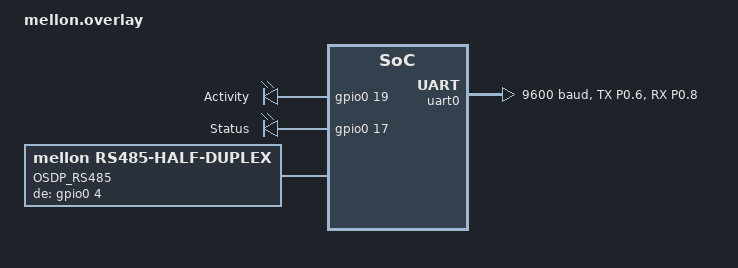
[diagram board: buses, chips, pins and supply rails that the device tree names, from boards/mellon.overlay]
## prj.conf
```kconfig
# Zephyr project configuration for Mellon firmware.
# See spec §4.2.

# --- Bluetooth ---
CONFIG_BT=y
CONFIG_BT_PERIPHERAL=y
CONFIG_BT_DEVICE_NAME="Mellon"
CONFIG_BT_DEVICE_APPEARANCE=0
CONFIG_BT_SMP=y
CONFIG_BT_FIXED_PASSKEY=y
CONFIG_BT_BONDABLE=y
CONFIG_BT_SETTINGS=y
CONFIG_BT_NUS=y
CONFIG_BT_MAX_CONN=1
CONFIG_BT_MAX_PAIRED=4

# --- Storage ---
CONFIG_FLASH=y
CONFIG_FLASH_PAGE_LAYOUT=y
CONFIG_FLASH_MAP=y
CONFIG_NVS=y
CONFIG_FCB=y
CONFIG_SETTINGS=y
CONFIG_SETTINGS_NVS=y

# --- Logging (RTT only — no UART console; UART is the OSDP wire) ---
CONFIG_LOG=y
CONFIG_LOG_BACKEND_RTT=y
CONFIG_USE_SEGGER_RTT=y
CONFIG_LOG_BACKEND_UART=n
CONFIG_LOG_PRINTK=y
CONFIG_LOG_MODE_DEFERRED=y

# --- Crypto ---
CONFIG_MBEDTLS=y
CONFIG_MBEDTLS_BUILTIN=y
CONFIG_MBEDTLS_CIPHER_AES_ENABLED=y
CONFIG_MBEDTLS_CIPHER_MODE_CBC_ENABLED=y
CONFIG_MBEDTLS_AES_ROM_TABLES=y

# --- Power management — keep BLE radio always reachable per §7.4 ---
CONFIG_PM=y
CONFIG_PM_DEVICE=y

# --- Serial / UART for the OSDP bus ---
CONFIG_SERIAL=y
CONFIG_UART_INTERRUPT_DRIVEN=y
CONFIG_UART_ASYNC_API=y
CONFIG_UART_LINE_CTRL=n

# --- GPIO for DE/RE̅ direction line and LEDs ---
CONFIG_GPIO=y

# --- Watchdog (M2 acceptance: 30 minutes without watchdog reset) ---
CONFIG_WATCHDOG=y
CONFIG_WDT_NRFX=y

# --- Heap / stack ---
CONFIG_MAIN_STACK_SIZE=2048
CONFIG_HEAP_MEM_POOL_SIZE=4096
CONFIG_SYSTEM_WORKQUEUE_STACK_SIZE=2048
```

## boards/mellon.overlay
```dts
/*
 * Devicetree overlay for the Bishop Fox Mellon v0.1 board.
 * Pin assignments come straight from the v0.1 KiCad schematic; see spec §1.2.
 */

/ {
	chosen {
		zephyr,console = &uart0;
		zephyr,shell-uart = &uart0;
		zephyr,uart-mcumgr = &uart0;
		zephyr,bt-mon-uart = &uart0;
		zephyr,bt-c2h-uart = &uart0;
	};

	leds {
		compatible = "gpio-leds";
		led_act: led_act {
			gpios = <&gpio0 19 GPIO_ACTIVE_HIGH>;	/* D3 — activity */
			label = "Activity";
		};
		led_status: led_status {
			gpios = <&gpio0 17 GPIO_ACTIVE_HIGH>;	/* D4 — status */
			label = "Status";
		};
	};

	/*
	 * MAX485CSA+ DE and RE̅ are tied together on the board (spec §1.2).
	 * HIGH = transmit, LOW = receive. Idle state is LOW (receive).
	 */
	rs485 {
		compatible = "mellon,rs485-half-duplex";
		status = "okay";
		de-gpios = <&gpio0 4 GPIO_ACTIVE_HIGH>;
		uart = <&uart0>;
		label = "OSDP_RS485";
	};

	aliases {
		mellon-led-act = &led_act;
		mellon-led-status = &led_status;
		mellon-uart = &uart0;
	};
};

&uart0 {
	status = "okay";
	current-speed = <9600>;	/* OSDP default; spec §1.6 supports up to 230400 */
	pinctrl-0 = <&uart0_default>;
	pinctrl-1 = <&uart0_sleep>;
	pinctrl-names = "default", "sleep";
};

&pinctrl {
	uart0_default: uart0_default {
		group1 {
			psels = <NRF_PSEL(UART_TX, 0, 6)>;
		};
		group2 {
			psels = <NRF_PSEL(UART_RX, 0, 8)>;
			bias-pull-up;	/* matches R8 pull-up to +5V_RS485 */
		};
	};
	uart0_sleep: uart0_sleep {
		group1 {
			psels = <NRF_PSEL(UART_TX, 0, 6)>,
				<NRF_PSEL(UART_RX, 0, 8)>;
			low-power-enable;
		};
	};
};

/*
 * Flash partitions — spec §5.
 *   app:     0x00000–0x6FFFF (448 KB)
 *   nvs:     0x70000–0x77FFF (32 KB)
 *   capture: 0x78000–0x7FFFF (32 KB)
 */
&flash0 {
	partitions {
		compatible = "fixed-partitions";
		#address-cells = <1>;
		#size-cells = <1>;

		boot_partition: partition@0 {
			label = "mcuboot";
			reg = <0x00000000 0x0000C000>;
			read-only;
		};

		slot0_partition: partition@c000 {
			label = "image-0";
			reg = <0x0000C000 0x00064000>;
		};

		nvs_partition: partition@70000 {
			label = "nvs";
			reg = <0x00070000 0x00008000>;
		};

		capture_partition: partition@78000 {
			label = "capture";
			reg = <0x00078000 0x00008000>;
		};
	};
};
```

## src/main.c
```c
/*
 * Mellon firmware — entry point.
 *
 * Boot sequence:
 *   1. board init (LEDs, RTT log)
 *   2. mode dispatcher init: NVS → sniff pipeline → libosdp glue → secchan
 *   3. RS-485 driver up at OSDP default 9600 baud
 *   4. BLE console up; advertising under name "Mellon"
 *   5. main loop: blink the heartbeat and feed the watchdog
 */

#include <zephyr/drivers/watchdog.h>
#include <zephyr/kernel.h>
#include <zephyr/logging/log.h>

#include "ble/nus_console.h"
#include "board/board.h"
#include "board/rs485.h"
#include "mode.h"
#include "storage/capture.h"
#include "storage/nvs_config.h"
#include "util/log.h"

LOG_MODULE_REGISTER(main, CONFIG_LOG_DEFAULT_LEVEL);

#ifndef MELLON_FIRMWARE_VERSION
#define MELLON_FIRMWARE_VERSION "0.0.0-pre"
#endif
#ifndef MELLON_BUILD_HASH
#define MELLON_BUILD_HASH "unknown"
#endif

#define HEARTBEAT_PERIOD_MS	1000
#define HEARTBEAT_ON_MS		50
#define WDT_TIMEOUT_MS		5000

static int wdt_chan = -1;
static const struct device *wdt_dev;

static int mellon_wdt_init(void)
{
	wdt_dev = DEVICE_DT_GET_ONE(nordic_nrf_wdt);
	if (!device_is_ready(wdt_dev)) {
		LOG_WRN("watchdog not ready — skipping");
		return -ENODEV;
	}
	struct wdt_timeout_cfg cfg = {
		.window.min = 0,
		.window.max = WDT_TIMEOUT_MS,
		.callback = NULL,
		.flags = WDT_FLAG_RESET_SOC,
	};
	wdt_chan = wdt_install_timeout(wdt_dev, &cfg);
	if (wdt_chan < 0) {
		LOG_WRN("wdt_install_timeout: %d", wdt_chan);
		return wdt_chan;
	}
	int ret = wdt_setup(wdt_dev, WDT_OPT_PAUSE_HALTED_BY_DBG);
	if (ret < 0) {
		LOG_WRN("wdt_setup: %d", ret);
		return ret;
	}
	return 0;
}

static void wdt_kick(void)
{
	if (wdt_chan >= 0 && wdt_dev) {
		(void)wdt_feed(wdt_dev, wdt_chan);
	}
}

int main(void)
{
	LOG_INF("");
	LOG_INF("Mellon firmware %s (%s)",
		MELLON_FIRMWARE_VERSION, MELLON_BUILD_HASH);

	mellon_log_init();

	int ret = mellon_board_init();
	if (ret < 0) {
		LOG_ERR("board_init: %d — halting", ret);
		return ret;
	}
	mellon_led_status(true);

	ret = mellon_rs485_init(9600);
	if (ret < 0) {
		LOG_ERR("rs485_init: %d — halting", ret);
		return ret;
	}

	ret = mellon_mode_init();
	if (ret < 0) {
		LOG_WRN("mode_init: %d — running degraded", ret);
	}

	ret = mellon_capture_init();
	if (ret < 0) {
		LOG_WRN("capture_init: %d — flash log disabled", ret);
	}

	uint32_t passkey = MELLON_DEFAULT_PASSKEY;
	(void)mellon_nvs_get_passkey(&passkey);
	ret = mellon_ble_console_init(passkey);
	if (ret < 0) {
		LOG_WRN("ble init: %d — running headless", ret);
	}

	(void)mellon_wdt_init();

	LOG_INF("boot complete — current mode=%s",
		mellon_mode_name(mellon_mode_get()));

	while (1) {
		mellon_led_act(true);
		k_msleep(HEARTBEAT_ON_MS);
		mellon_led_act(false);
		wdt_kick();
		k_msleep(HEARTBEAT_PERIOD_MS - HEARTBEAT_ON_MS);
	}
}
```

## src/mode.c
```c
#include "mode.h"

#include <errno.h>
#include <string.h>
#include <zephyr/kernel.h>
#include <zephyr/logging/log.h>

#include "attacks/keyset.h"
#include "attacks/sniff.h"
#include "attacks/weakkeys.h"
#include "osdp/framing.h"
#include "osdp/libosdp_glue.h"
#include "osdp/secchan.h"
#include "storage/nvs_config.h"
#include "util/timing.h"

LOG_MODULE_REGISTER(mode, CONFIG_LOG_DEFAULT_LEVEL);

#define ARM_MAX_TTL_SEC		300

static const char *const k_mode_names[MODE_COUNT] = {
	[MODE_IDLE]		= "idle",
	[MODE_SNIFF]		= "sniff",
	[MODE_KEYSET_WATCH]	= "keyset_watch",
	[MODE_WEAK_KEYS]	= "weak_keys",
	[MODE_INSTALL_MODE]	= "install_mode",
	[MODE_PDCAP_DOWNGRADE]	= "pdcap_downgrade",
};

static struct {
	mellon_mode_t current;
	struct {
		mellon_mode_t mode;
		uint32_t nonce;
		uint64_t expires_ms;
	} armed;
} g;

static K_MUTEX_DEFINE(mode_lock);

const char *mellon_mode_name(mellon_mode_t m)
{
	if (m < 0 || m >= MODE_COUNT) {
		return "unknown";
	}
	return k_mode_names[m];
}

int mellon_mode_from_name(const char *name, mellon_mode_t *out)
{
	if (!name || !out) {
		return -EINVAL;
	}
	for (int i = 0; i < MODE_COUNT; i++) {
		if (strcmp(name, k_mode_names[i]) == 0) {
			*out = (mellon_mode_t)i;
			return 0;
		}
	}
	return -EINVAL;
}

static void apply_mode(mellon_mode_t mode)
{
	switch (mode) {
	case MODE_IDLE:
		mellon_sniff_set_active(false);
		break;
	case MODE_SNIFF:
	case MODE_KEYSET_WATCH:	/* keyset watcher feeds off the sniff pipeline */
	case MODE_WEAK_KEYS:	/* weak-key decryptor consumes captured frames; sniff stays on */
		mellon_sniff_set_active(true);
		break;
	case MODE_INSTALL_MODE:
	case MODE_PDCAP_DOWNGRADE:
		/* never reached — set() rejects these with -ENOSYS */
		break;
	default:
		break;
	}
}

int mellon_mode_init(void)
{
	memset(&g, 0, sizeof(g));
	g.current = MODE_SNIFF;	/* default per spec §3.2 */

	int ret = mellon_nvs_init();
	if (ret < 0) {
		LOG_WRN("nvs_init failed (%d) — using volatile defaults", ret);
	} else {
		mellon_mode_t persisted;
		if (mellon_nvs_get_mode(&persisted) == 0
		    && persisted < MODE_COUNT) {
			g.current = persisted;
		}
	}

	mellon_timing_init();
	secchan_init();
	mellon_libosdp_init();
	mellon_sniff_init();
	mellon_keyset_watcher_init();
	mellon_weakkeys_init();

	apply_mode(g.current);
	LOG_INF("mode dispatcher up — current=%s",
		mellon_mode_name(g.current));
	return 0;
}

int mellon_mode_set(mellon_mode_t mode)
{
	if (mode < 0 || mode >= MODE_COUNT) {
		return -EINVAL;
	}
	if (mode == MODE_INSTALL_MODE || mode == MODE_PDCAP_DOWNGRADE) {
		LOG_WRN("mode %s requested but not implemented in this build",
			mellon_mode_name(mode));
		return -ENOSYS;
	}

	k_mutex_lock(&mode_lock, K_FOREVER);
	g.current = mode;
	(void)mellon_nvs_put_mode(mode);
	apply_mode(mode);
	k_mutex_unlock(&mode_lock);

	LOG_INF("mode -> %s", mellon_mode_name(mode));
	return 0;
}

mellon_mode_t mellon_mode_get(void)
{
	return g.current;
}

int mellon_mode_arm(mellon_mode_t mode, uint32_t ttl_sec, uint32_t nonce)
{
	if (mode < 0 || mode >= MODE_COUNT) {
		return -EINVAL;
	}
	if (mode != MODE_INSTALL_MODE && mode != MODE_PDCAP_DOWNGRADE) {
		/* Arming only applies to active modes. */
		return -EINVAL;
	}
	if (ttl_sec == 0 || ttl_sec > ARM_MAX_TTL_SEC) {
		return -EINVAL;
	}

	k_mutex_lock(&mode_lock, K_FOREVER);
	g.armed.mode = mode;
	g.armed.nonce = nonce;
	g.armed.expires_ms = k_uptime_get() + (uint64_t)ttl_sec * 1000U;
	k_mutex_unlock(&mode_lock);
	return 0;
}

int mellon_mode_fire(mellon_mode_t mode, uint32_t nonce)
{
	k_mutex_lock(&mode_lock, K_FOREVER);
	bool match = (g.armed.mode == mode)
		     && (g.armed.nonce == nonce)
		     && (k_uptime_get() < (int64_t)g.armed.expires_ms);
	memset(&g.armed, 0, sizeof(g.armed));
	k_mutex_unlock(&mode_lock);

	if (!match) {
		return -EACCES;
	}
	/* Active firing not implemented in v1. */
	LOG_WRN("fire %s — not implemented in this build", mellon_mode_name(mode));
	return -ENOSYS;
}

bool mellon_mode_is_armed(mellon_mode_t mode)
{
	bool armed;
	k_mutex_lock(&mode_lock, K_FOREVER);
	armed = (g.armed.mode == mode)
	     && (k_uptime_get() < (int64_t)g.armed.expires_ms);
	k_mutex_unlock(&mode_lock);
	return armed;
}
```

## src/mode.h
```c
/*
 * Mode dispatcher.
 *
 * Modes are mutually exclusive. Switching flushes pending TX in the
 * RS-485 layer, resets the framer, and persists the new mode to NVS so
 * it survives a power-cycle (spec §3.2).
 *
 * Active modes (M6 INSTALL_MODE, M7 PDCAP_DOWNGRADE) are not implemented
 * in this build; mellon_mode_set() returns -ENOSYS for them. The
 * arming state machine is still present, so the BLE protocol's
 * arm/fire commands behave consistently across builds.
 */

#ifndef MELLON_MODE_H_
#define MELLON_MODE_H_

#include <stdbool.h>
#include <stdint.h>

typedef enum {
	MODE_IDLE		= 0,
	MODE_SNIFF		= 1,
	MODE_KEYSET_WATCH	= 2,
	MODE_WEAK_KEYS		= 3,
	MODE_INSTALL_MODE	= 4,	/* not implemented in v1 */
	MODE_PDCAP_DOWNGRADE	= 5,	/* not implemented in v1 */
	MODE_COUNT
} mellon_mode_t;

const char *mellon_mode_name(mellon_mode_t m);
int mellon_mode_from_name(const char *name, mellon_mode_t *out);

/* Top-level init: NVS, sniff, BLE, etc. Reads the persisted mode and
 * activates it. */
int mellon_mode_init(void);

/* Switch to a new mode. Returns 0 on success, -EINVAL for unknown mode,
 * -ENOSYS for unimplemented modes (INSTALL_MODE, PDCAP_DOWNGRADE). */
int mellon_mode_set(mellon_mode_t mode);

mellon_mode_t mellon_mode_get(void);

/*
 * Active-mode arming (spec §3.2 — 60 second TTL).
 * Currently only relevant for M6/M7 which are out of scope; the state
 * machine is here so the BLE protocol behaves consistently and the
 * v1.1+ branch slot is in place.
 */
int mellon_mode_arm(mellon_mode_t mode, uint32_t ttl_sec, uint32_t nonce);
int mellon_mode_fire(mellon_mode_t mode, uint32_t nonce);
bool mellon_mode_is_armed(mellon_mode_t mode);

#endif /* MELLON_MODE_H_ */
```
